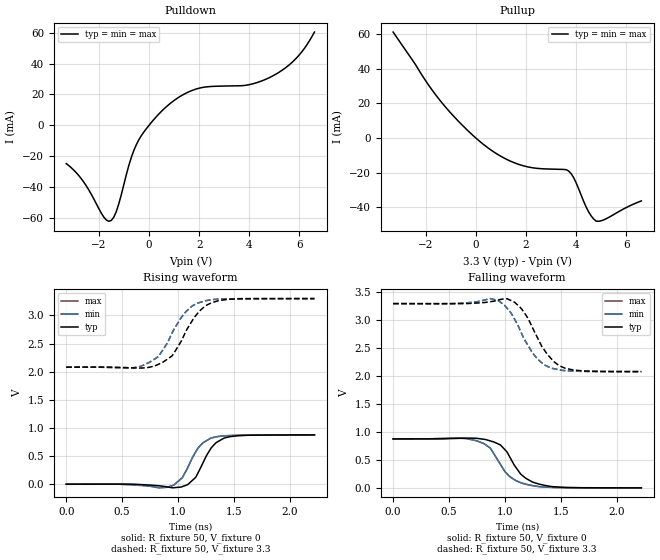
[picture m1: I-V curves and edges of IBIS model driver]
| IBIS file ex2_weak_tr200ps.ibs created by PYS2IBIS3
| Missouri S&T EMC Lab
[IBIS Ver] 7.1
[File Name] ex2_weak_tr200ps.ibs
[File Rev] 1.0
[Date] July 28, 2026
[Source] ex2 variant 'weak' -- output stage at half width
[Notes] Parameter selection; sim_time=2.222e-09, tr=tf=2.000e-10.
[Disclaimer] Experimental characterization for pybis observability study.
[Component] MCM Driver 1
[Manufacturer] MegaFLOPS Inc.
[Package]
| variable   typ   min   max
R_pkg 0 NA NA
L_pkg 0H NA NA
C_pkg 0F NA NA
[Pin]  signal_name   model_name   R_pin   L_pin   C_pin
vdd   vdd   POWER
gnd   gnd   GND
| in in dummy
out   out   driver
| End of Component
| Models and submodels in the file (1): driver (Output)
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[Model] driver
Model_type Output
Polarity Non-Inverting
Enable Active-Low
Vinl  = 0.8V
Vinh  = 2V
C_comp 5.0000pF 5.0000pF 5.0000pF
[Temperature Range] 27.0000 27.0000 27.0000
[Voltage Range] 3.3000V 3.3000V 3.3000V
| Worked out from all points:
|   slope of the pulldown table from 0 to 0.495 V, typ, clamps not added: 54.7 ohm
|   slope of the pullup table from 0 to 0.495 V, typ, clamps not added: 85.1 ohm
|   rising waveform, R_fixture 50, V_fixture 0: 20-80 % time 150ps typ, 151ps min, 151ps max; typ from 0 V to 0.876 V
|   rising waveform, R_fixture 50, V_fixture 3.3: 20-80 % time 221ps typ, 221ps min, 221ps max; typ from 2.08 V to 3.3 V
|   falling waveform, R_fixture 50, V_fixture 0: 20-80 % time 192ps typ, 190ps min, 190ps max; typ from 0.876 V to 0 V
|   falling waveform, R_fixture 50, V_fixture 3.3: 20-80 % time 207ps typ, 208ps min, 208ps max; typ from 3.3 V to 2.08 V
[Pulldown]
| Voltage   I(typ)   I(min)   I(max)
-3.3V     -24.71mA   -24.71mA   -24.71mA
-2.6V     -36.69mA   -36.69mA   -36.69mA
-1.8V     -59.35mA   -59.35mA   -59.35mA
-1.5V     -61.44mA   -61.44mA   -61.44mA
-1.3V     -55.57mA   -55.57mA   -55.57mA
-500mV    -12.32mA   -12.32mA   -12.32mA
600mV     10.7mA     10.7mA     10.7mA
1.9V      23.61mA    23.61mA    23.61mA
3.9V      26.05mA    26.05mA    26.05mA
4.9V      31.7mA     31.7mA     31.7mA
5.9V      43.88mA    43.88mA    43.88mA
6.6V      60.38mA    60.38mA    60.38mA
[Pullup]
| Voltage   I(typ)   I(min)   I(max)
-3.3V     61.37mA    61.37mA    61.37mA
-1.9V     30.97mA    30.97mA    30.97mA
-1.3V     19.49mA    19.49mA    19.49mA
-200mV    2.648mA    2.648mA    2.648mA
700mV     -7.897mA   -7.897mA   -7.897mA
2V        -16.47mA   -16.47mA   -16.47mA
3.7V      -19.09mA   -19.09mA   -19.09mA
3.9V      -22.93mA   -22.93mA   -22.93mA
4.5V      -42.81mA   -42.81mA   -42.81mA
4.8V      -48.13mA   -48.13mA   -48.13mA
5.1V      -47.39mA   -47.39mA   -47.39mA
6.6V      -36.41mA   -36.41mA   -36.41mA
[Ramp]
| variable   typ   min   max
dV/dt_r 0.5257/0.1503n 0.5258/0.1508n 0.5258/0.1508n
dV/dt_f 0.7308/0.2068n 0.7308/0.2078n 0.7308/0.2078n
R_load = 50
[Rising Waveform]
R_fixture = 50
V_fixture = 0
|time   V(typ)   V(min)   V(max)
0s        5.892nV    5.892nV    5.892nV
533.9ps   2.395mV    -3.712mV   -3.712mV
829.7ps   -27.94mV   -63.62mV   -63.62mV
961ps     -62.64mV   -17.4mV    -17.4mV
1.026ns   -52.12mV   89.15mV    89.15mV
1.157ns   117.4mV    566.7mV    566.7mV
1.221ns   367.9mV    733.4mV    733.4mV
1.301ns   653.9mV    822.8mV    822.8mV
1.413ns   820.6mV    860.6mV    860.6mV
2.222ns   876.2mV    876.3mV    876.3mV
[Rising Waveform]
R_fixture = 50
V_fixture = 3.3
|time   V(typ)   V(min)   V(max)
0s        2.081V     2.081V     2.081V
593.9ps   2.069V     2.068V     2.068V
789.7ps   2.1V       2.224V     2.224V
852ps     2.156V     2.348V     2.348V
947.6ps   2.282V     2.69V      2.69V
1.065ns   2.692V     3.057V     3.057V
1.148ns   2.969V     3.191V     3.191V
1.241ns   3.164V     3.261V     3.261V
1.45ns    3.287V     3.296V     3.296V
2.222ns   3.3V       3.3V       3.3V
[Falling Waveform]
R_fixture = 50
V_fixture = 0
|time   V(typ)   V(min)   V(max)
0s        876.4mV    876.4mV    876.4mV
654ps     890.1mV    883.2mV    883.2mV
811.9ps   871.4mV    794.5mV    794.5mV
894.2ps   828.2mV    634.7mV    634.7mV
961ps     767.7mV    417.4mV    417.4mV
1.039ns   571.3mV    212.2mV    212.2mV
1.139ns   253.8mV    93.66mV    93.66mV
1.203ns   153.7mV    56.45mV    56.45mV
1.475ns   13.59mV    4.523mV    4.523mV
2.222ns   43.52uV    17.78uV    17.78uV
[Falling Waveform]
R_fixture = 50
V_fixture = 3.3
|time   V(typ)   V(min)   V(max)
0s        3.3V       3.3V       3.3V
578.4ps   3.298V     3.304V     3.304V
872ps     3.334V     3.39V      3.39V
1.021ns   3.388V     3.215V     3.215V
1.146ns   3.217V     2.786V     2.786V
1.248ns   2.868V     2.417V     2.417V
1.33ns    2.537V     2.24V      2.24V
1.413ns   2.318V     2.146V     2.146V
1.615ns   2.11V      2.091V     2.091V
2.222ns   2.082V     2.082V     2.082V
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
